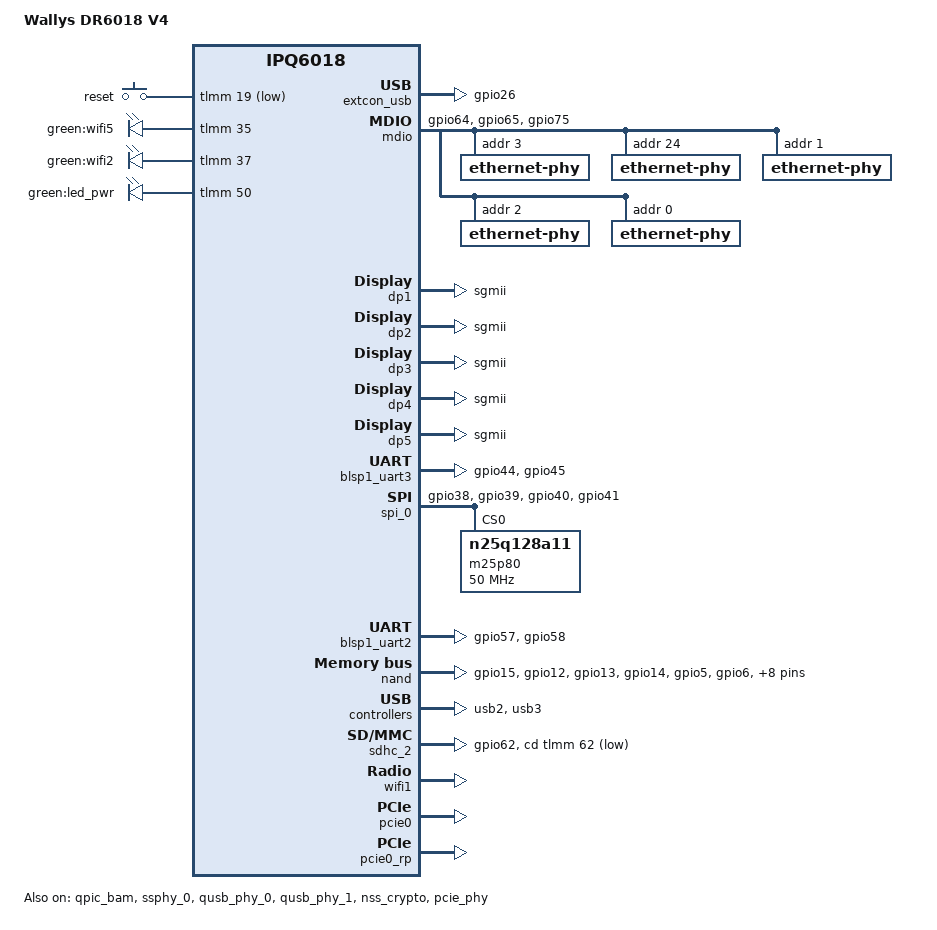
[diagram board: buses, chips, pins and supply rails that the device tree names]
/dts-v1/;
/*
 * Copyright (c) 2019, The Linux Foundation. All rights reserved.
 *
 * Permission to use, copy, modify, and/or distribute this software for any
 * purpose with or without fee is hereby granted, provided that the above
 * copyright notice and this permission notice appear in all copies.
 *
 * THE SOFTWARE IS PROVIDED "AS IS" AND THE AUTHOR DISCLAIMS ALL WARRANTIES
 * WITH REGARD TO THIS SOFTWARE INCLUDING ALL IMPLIED WARRANTIES OF
 * MERCHANTABILITY AND FITNESS. IN NO EVENT SHALL THE AUTHOR BE LIABLE FOR
 * ANY SPECIAL, DIRECT, INDIRECT, OR CONSEQUENTIAL DAMAGES OR ANY DAMAGES
 * WHATSOEVER RESULTING FROM LOSS OF USE, DATA OR PROFITS, WHETHER IN AN
 * ACTION OF CONTRACT, NEGLIGENCE OR OTHER TORTIOUS ACTION, ARISING OUT OF
 * OR IN CONNECTION WITH THE USE OR PERFORMANCE OF THIS SOFTWARE.
 */

#include "qcom-ipq6018.dtsi"
#include "qcom-ipq6018-rpm-regulator.dtsi"
#include "qcom-ipq6018-cpr-regulator.dtsi"
#include "qcom-ipq6018-cp-cpu.dtsi"
#include <dt-bindings/input/input.h>
#include <dt-bindings/gpio/gpio.h>

/ {
	#address-cells = <0x2>;
	#size-cells = <0x2>;
	model = "Wallys DR6018 V4";
	compatible = "wallys,dr6018-v4", "qcom,ipq6018-cp01", "qcom,ipq6018";
	interrupt-parent = <&intc>;

	aliases {
		serial0 = &blsp1_uart3;
		serial1 = &blsp1_uart2;

		/*
		 * Aliases as required by u-boot
		 * to patch MAC addresses
		 */
		ethernet0 = "/soc/dp1";
		ethernet1 = "/soc/dp2";
		ethernet2 = "/soc/dp3";
		ethernet3 = "/soc/dp4";
		ethernet4 = "/soc/dp5";

		sdhc2 = "/soc/sdhci_sd@7804000";

		led-boot = &led_power;
		led-failsafe = &led_power;
		led-running = &led_power;
		led-upgrade = &led_power;
	};

	chosen {
		bootargs = "console=ttyMSM0,115200,n8 rw init=/init";
		bootargs-append = " console=ttyMSM0,115200,n8 swiotlb=1 coherent_pool=2M";
	};

	/*
	 * +=========+==============+========================+
	 * |        |              |                         |
	 * | Region | Start Offset |          Size           |
	 * |        |              |                         |
	 * +--------+--------------+-------------------------+
	 * |        |              |                         |
	 * |        |              |                         |
	 * |        |              |                         |
	 * |        |              |                         |
	 * | Linux  |  0x41000000  |         139MB           |
	 * |        |              |                         |
	 * |        |              |                         |
	 * |        |              |                         |
	 * +--------+--------------+-------------------------+
	 * | TZ App |  0x49B00000  |           6MB           |
	 * +--------+--------------+-------------------------+
	 *
	 * From the available 145 MB for Linux in the first 256 MB,
	 * we are reserving 6 MB for TZAPP.
	 *
	 * Refer arch/arm64/boot/dts/qcom/qcom-ipq6018-memory.dtsi
	 * for memory layout.
	 */

/* TZAPP is enabled only in default memory profile */
	reserved-memory {
#if !defined(__IPQ_MEM_PROFILE_256_MB__) && !defined(__IPQ_MEM_PROFILE_512_MB__)
		tzapp:tzapp@49B00000 {	/* TZAPPS */
			no-map;
			reg = <0x0 0x49B00000 0x0 0x00600000>;
		};
#endif
		qcn9000_pcie0@50200000 {
			no-map;
			reg = <0x0 0x50200000 0x0 0x02D00000>;
		};

		mhi_region0: dma_pool0@52f00000 {
			compatible = "shared-dma-pool";
			no-map;
			reg = <0x0 0x52F00000 0x0 0x01800000>;
		};
	};
};

&tlmm {
	uart_pins: uart_pins {
		mux {
			pins = "gpio44", "gpio45";
			function = "blsp2_uart";
			drive-strength = <8>;
			bias-pull-down;
		};
	};

	sd_pins: sd_pins {
		mux {
			pins = "gpio62";
			function = "sd_card";
			drive-strength = <8>;
			bias-pull-up;
		};
	};

	spi_0_pins: spi_0_pins {
		mux {
			pins = "gpio38", "gpio39", "gpio40", "gpio41";
			function = "blsp0_spi";
			drive-strength = <8>;
			bias-pull-down;
		};
	};

	qpic_pins: qpic_pins {
		data_0 {
			pins = "gpio15";
			function = "qpic_pad0";
			drive-strength = <8>;
			bias-pull-down;
		};
		data_1 {
			pins = "gpio12";
			function = "qpic_pad1";
			drive-strength = <8>;
			bias-pull-down;
		};
		data_2 {
			pins = "gpio13";
			function = "qpic_pad2";
			drive-strength = <8>;
			bias-pull-down;
		};
		data_3 {
			pins = "gpio14";
			function = "qpic_pad3";
			drive-strength = <8>;
			bias-pull-down;
		};
		data_4 {
			pins = "gpio5";
			function = "qpic_pad4";
			drive-strength = <8>;
			bias-pull-down;
		};
		data_5 {
			pins = "gpio6";
			function = "qpic_pad5";
			drive-strength = <8>;
			bias-pull-down;
		};
		data_6 {
			pins = "gpio7";
			function = "qpic_pad6";
			drive-strength = <8>;
			bias-pull-down;
		};
		data_7 {
			pins = "gpio8";
			function = "qpic_pad7";
			drive-strength = <8>;
			bias-pull-down;
		};
		qpic_pad {
			pins = "gpio1", "gpio3", "gpio4",
			       "gpio10", "gpio11", "gpio17";
			function = "qpic_pad";
			drive-strength = <8>;
			bias-pull-down;
		};
	};

	extcon_usb_pins: extcon_usb_pins {
		mux {
			pins = "gpio26";
			function = "gpio";
			drive-strength = <2>;
			bias-pull-down;
		};
	};

	button_pins: button_pins {
		wps_button {
			pins = "gpio19";
			function = "gpio";
			drive-strength = <8>;
			bias-pull-up;
		};
	};

	mdio_pins: mdio_pinmux {
		mux_0 {
			pins = "gpio64";
			function = "mdc";
			drive-strength = <8>;
			bias-pull-up;
		};
		mux_1 {
			pins = "gpio65";
			function = "mdio";
			drive-strength = <8>;
			bias-pull-up;
		};
		mux_2 {
			pins = "gpio75";
			function = "gpio";
			bias-pull-up;
		};
	};

	leds_pins: leds_pins {
		led_pwr {
			pins = "gpio74";
			function = "gpio";
			drive-strength = <8>;
			bias-pull-down;
		};
		led_5g {
			pins = "gpio35";
			function = "gpio";
			drive-strength = <8>;
			bias-pull-down;
		};
		led_2g {
			pins = "gpio37";
			function = "gpio";
			drive-strength = <8>;
			bias-pull-down;
		};
	};
	uart2_pins: uart2_pins {
		mux {
			pins = "gpio57", "gpio58";
			function = "blsp4_uart";
			drive-strength = <8>;
			bias-pull-down;
		};
	};
};

&soc {
	extcon_usb: extcon_usb {
		pinctrl-0 = <&extcon_usb_pins>;
		pinctrl-names = "default";
		id-gpio = <&tlmm 26 GPIO_ACTIVE_LOW>;
		status = "ok";
	};

	mdio: mdio@90000 {
		pinctrl-0 = <&mdio_pins>;
		pinctrl-names = "default";
		phy-reset-gpio = <&tlmm 75 0 &tlmm 77 1>;
		status = "ok";
		ethernet-phy@3 {
			reg = <0x03>;
		};

		ethernet-phy@4 {
			reg = <0x18>;
		};

		ethernet-phy@1 {
			reg = <0x01>;
		};

		ethernet-phy@2 {
			reg = <0x02>;
		};

		ethernet-phy@0 {
			reg = <0x00>;
		};
	};

	dp1 {
		device_type = "network";
		compatible = "qcom,nss-dp";
		qcom,id = <1>;
		reg = <0x3a001000 0x200>;
		qcom,mactype = <0>;
		local-mac-address = [000000000000];
		qcom,link-poll = <1>;
		qcom,phy-mdio-addr = <0>;
		phy-mode = "sgmii";
	};

	dp2 {
		device_type = "network";
		compatible = "qcom,nss-dp";
		qcom,id = <2>;
		reg = <0x3a001200 0x200>;
		qcom,mactype = <0>;
		local-mac-address = [000000000000];
		qcom,link-poll = <1>;
		qcom,phy-mdio-addr = <1>;
		phy-mode = "sgmii";
	};

	dp3 {
		device_type = "network";
		compatible = "qcom,nss-dp";
		qcom,id = <3>;
		reg = <0x3a001400 0x200>;
		qcom,mactype = <0>;
		local-mac-address = [000000000000];
		qcom,link-poll = <1>;
		qcom,phy-mdio-addr = <2>;
		phy-mode = "sgmii";
	};

	dp4 {
		device_type = "network";
		compatible = "qcom,nss-dp";
		qcom,id = <4>;
		reg = <0x3a001600 0x200>;
		qcom,mactype = <0>;
		local-mac-address = [000000000000];
		qcom,link-poll = <1>;
		qcom,phy-mdio-addr = <3>;
		phy-mode = "sgmii";
	};

	dp5 {
		device_type = "network";
		compatible = "qcom,nss-dp";
		qcom,id = <5>;
		reg = <0x3a001800 0x200>;
		qcom,mactype = <0>;
		local-mac-address = [000000000000];
		qcom,link-poll = <1>;
		qcom,phy-mdio-addr = <0x18>;
		phy-mode = "sgmii";
	};

	ess-switch@3a000000 {
		switch_cpu_bmp = <0x1>;  /* cpu port bitmap */
		switch_lan_bmp = <0x3c>; /* lan port bitmap */
		switch_wan_bmp = <0x2>; /* wan port bitmap */
		switch_inner_bmp = <0xc0>; /*inner port bitmap*/
		switch_mac_mode = <0x0>; /* mac mode for uniphy instance0*/
		switch_mac_mode1 = <0xf>; /* mac mode for uniphy instance1*/
		switch_mac_mode2 = <0xff>; /* mac mode for uniphy instance2*/
		qcom,port_phyinfo {
			port@1 {
				phy_address = <0x01>;
				port_id = <0x02>;
			};

			port@0 {
				phy_address = <0x00>;
				port_id = <0x01>;
			};

			port@2 {
				phy_address = <0x02>;
				port_id = <0x03>;
			};

			port@3 {
				phy_address = <0x03>;
				port_id = <0x04>;
			};

			port@4 {
				phy_address = <0x18>;
				port_id = <0x05>;
				port_mac_sel = "QGMAC_PORT";
			};
		};
	};

	gpio_keys {
		compatible = "gpio-keys";
		pinctrl-0 = <&button_pins>;
		pinctrl-names = "default";

		reset {
			label = "reset";
			linux,code = <KEY_RESTART>;
			gpios = <&tlmm 19 GPIO_ACTIVE_LOW>;
			linux,input-type = <1>;
			debounce-interval = <60>;
		};
	};

	leds {
		compatible = "gpio-leds";
		pinctrl-0 = <&leds_pins>;
		pinctrl-names = "default";

		led@25 {
			label = "green:wifi5";
			gpios = <&tlmm 35 GPIO_ACTIVE_HIGH>;
			linux,default-trigger = "green:5g";
			default-state = "off";
		};
		led@24 {
			label = "green:wifi2";
			gpios = <&tlmm 37 GPIO_ACTIVE_HIGH>;
			linux,default-trigger = "green:2g";
			default-state = "off";
		};
                led_power: led@16 {
                        label = "green:led_pwr";
                        gpios = <&tlmm 50 GPIO_ACTIVE_HIGH>;
                        linux,default-trigger = "green:power";
			default-state = "off";
		};
	};
};

&blsp1_uart3 {
	pinctrl-0 = <&uart_pins>;
	pinctrl-names = "default";
	status = "ok";
};

&spi_0 {
	pinctrl-0 = <&spi_0_pins>;
	pinctrl-names = "default";
	cs-select = <0>;
	status = "ok";

	m25p80@0 {
		#address-cells = <1>;
		#size-cells = <1>;
		reg = <0>;
		compatible = "n25q128a11";
		linux,modalias = "m25p80", "n25q128a11";
		spi-max-frequency = <50000000>;
		use-default-sizes;
	};
};

&blsp1_uart2 {
	pinctrl-0 = <&uart2_pins>;
	pinctrl-names = "default";
	dmas = <&blsp_dma 2>,
		<&blsp_dma 3>;
	dma-names = "tx", "rx";
	status = "ok";
};
&qpic_bam {
	status = "ok";
};

&nand {
	pinctrl-0 = <&qpic_pins>;
	pinctrl-names = "default";
	status = "ok";
};

&ssphy_0 {
	status = "ok";
};

&qusb_phy_0 {
	status = "ok";
};

&qusb_phy_1 {
	status = "ok";
};

&usb2 {
	status = "ok";
};

&usb3 {
	status = "ok";
};

&nss_crypto {
	status = "ok";
};

&sdhc_2 {
	pinctrl-0 = <&sd_pins>;
	pinctrl-names = "default";
	cd-gpios = <&tlmm 62 1>;
	sd-ldo-gpios = <&tlmm 66 0>;
	//vqmmc-supply = <&ipq6018_l2_corner>;
	status = "ok";
};

&wifi1 {
	base-addr = <0x50200000>;
	m3-dump-addr = <0x52500000>;
	etr-addr = <0x52600000>;
	caldb-addr = <0x52700000>;
	hremote-size = <0x2300000>;
	tgt-mem-mode = <0x0>;
	board_id = <0xa4>;
	caldb-size = <0x800000>;
	status = "ok";
};

&pcie0 {
	status = "ok";
	interrupts = <0 52 0>, <0 416 0>, <0 417 0>,
                     <0 418 0>, <0 419 0>, <0 420 0>,
                     <0 421 0>, <0 422 0>, <0 423 0>,
                     <0 424 0>, <0 425 0>, <0 426 0>,
                     <0 427 0>, <0 428 0>, <0 429 0>,
                     <0 430 0>, <0 431 0>;

        interrupt-names = "msi", "msi_0", "msi_1",
                          "msi_2", "msi_3", "msi_4",
                          "msi_5", "msi_6", "msi_7",
                          "msi_8", "msi_9", "msi_10",
                          "msi_11", "msi_12", "msi_13",
                          "msi_14", "msi_15";

        qcom,msi-gicm-addr = <0x0B00A040>;
        qcom,msi-gicm-base = <0x1c0>;
};

&pcie0_rp {
        status = "ok";

        mhi_0: qcom,mhi@0 {
                reg = <0 0 0 0 0 >;
                qrtr_instance_id = <0x20>;
                memory-region = <&mhi_region0>;
        };
};

&pcie_phy {
        status = "ok";
};
